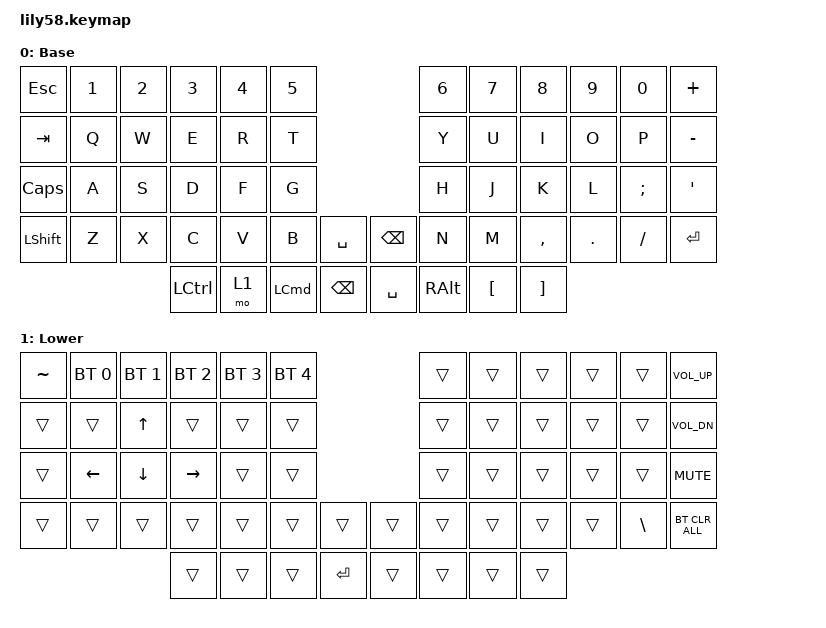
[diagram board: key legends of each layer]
/*
 * Copyright (c) 2020 The ZMK Contributors
 *
 * SPDX-License-Identifier: MIT
 */

#include <behaviors.dtsi>
#include <dt-bindings/zmk/bt.h>
#include <dt-bindings/zmk/keys.h>

/ {
    keymap {
        compatible = "zmk,keymap";

        default_layer {
            // ------------------------------------------------------------------------------------------------------------
            // |  ESC  |  1  |  2  |  3   |  4   |  5   |                   |  6   |  7    |  8    |  9   |   0   |   `   |
            // |  TAB  |  Q  |  W  |  E   |  R   |  T   |                   |  Y   |  U    |  I    |  O   |   P   |   -   |
            // |  CTRL |  A  |  S  |  D   |  F   |  G   |                   |  H   |  J    |  K    |  L   |   ;   |   '   |
            // | SHIFT |  Z  |  X  |  C   |  V   |  B   |   "["  |  |  "]"  |  N   |  M    |  ,    |  .   |   /   | SHIFT |
            //                     | ALT  | GUI  | LOWER|  SPACE |  | ENTER | RAISE| BSPC  | GUI   |

            display-name = "Base";
            bindings = <
&kp ESCAPE    &kp NUMBER_1  &kp N2  &kp N3     &kp N4  &kp N5                                            &kp N6         &kp N7            &kp N8             &kp N9   &kp N0    &kp PLUS
&kp TAB       &kp Q         &kp W   &kp E      &kp R   &kp T                                             &kp Y          &kp U             &kp I              &kp O    &kp P     &kp MINUS
&kp CAPSLOCK  &kp A         &kp S   &kp D      &kp F   &kp G                                             &kp H          &kp J             &kp K              &kp L    &kp SEMI  &kp SQT
&kp LSHFT     &kp Z         &kp X   &kp C      &kp V   &kp B             &kp SPACE        &kp BACKSPACE  &kp N          &kp M             &kp COMMA          &kp DOT  &kp FSLH  &kp RETURN
                                    &kp LCTRL  &mo 1   &kp LEFT_COMMAND  &kp BACKSPACE    &kp SPACE      &kp RIGHT_ALT  &kp LEFT_BRACKET  &kp RIGHT_BRACKET
            >;
        };

        lower_layer {
            // ------------------------------------------------------------------------------------------------------------
            // | BTCLR | BT1 | BT2 |  BT3 |  BT4 |  BT5 |                   |      |       |       |      |       |       |
            // |  F1   |  F2 |  F3 |  F4  |  F5  |  F6  |                   |  F7  |  F8   |  F9   |  F10 |  F11  |  F12  |
            // |   `   |  !  |  @  |  #   |  $   |  %   |                   |  ^   |  &    |  *    |  (   |   )   |   ~   |
            // |       |     |     |      |      |      |        |  |       |      |  _    |  +    |  {   |   }   |  "|"  |
            //                     |      |      |      |        |  |       |      |       |       |

            display-name = "Lower";
            bindings = <
&kp TILDE  &bt BT_SEL 0    &bt BT_SEL 1    &bt BT_SEL 2     &bt BT_SEL 3  &bt BT_SEL 4                       &trans  &trans  &trans  &trans  &trans         &kp C_VOLUME_UP
&trans     &trans          &kp UP_ARROW    &trans           &trans        &trans                             &trans  &trans  &trans  &trans  &trans         &kp C_VOL_DN
&trans     &kp LEFT_ARROW  &kp DOWN_ARROW  &kp RIGHT_ARROW  &trans        &trans                             &trans  &trans  &trans  &trans  &trans         &kp K_MUTE
&trans     &trans          &trans          &trans           &trans        &trans        &trans       &trans  &trans  &trans  &trans  &trans  &kp BACKSLASH  &bt BT_CLR_ALL
                                           &trans           &trans        &trans        &kp ENTER    &trans  &trans  &trans  &trans
            >;
        };
    };
};
